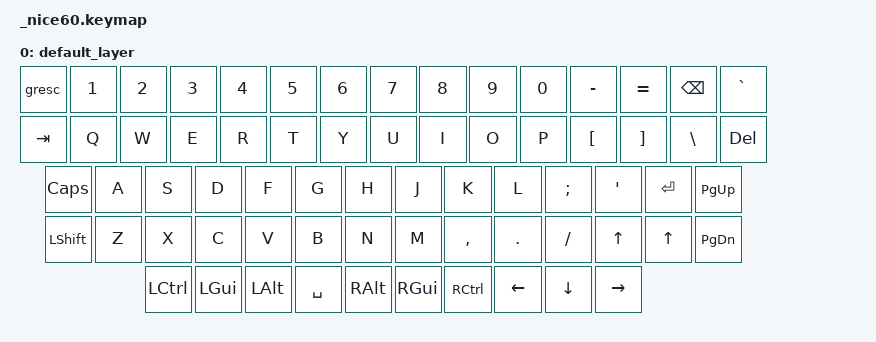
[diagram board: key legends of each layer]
/*
 * Copyright (c) 2021 Nick Winans
 *
 * SPDX-License-Identifier: MIT
 */

#include <behaviors.dtsi>
#include <dt-bindings/zmk/keys.h>
// #include <dt-bindings/zmk/bt.h>

/ {
	keymap {
		compatible = "zmk,keymap";
		
		default_layer {
// ------------------------------------------------------------------------------------------
// | ESC |  1  |  2  |  3  |  4  |  5  |  6  |  7  |  8  |  9  |  0  |  -  |  =  |     BKSP    |   `   |
// | TAB  |  Q  |  W  |  E  |  R  |  T  |  Y  |  U  |  I  |  O  |  P  |  [  |  ]  |    "|"     |  DEL  |
// | CAPS  |  A  |  S  |  D  |  F  |  G  |  H  |  J  |  K  |  L  |  ;  |  '  |      ENTER      | PgUp  |
// |  SHIFT  |  Z  |  X  |  C  |  V  |  B  |  N  |  M  |  ,  |  .  |  /  |     Fn      | UpAr  | PgDwn |
// |  CTL  |  WIN  |  ALT  |            SPACE              | ALT | WIN | MO(1) | LftAr |  DwnAr| RgtAr |
// ------------------------------------------------------------------------------------------
			bindings = <
	&gresc  &kp N1 &kp N2 &kp N3 &kp N4 &kp N5 &kp N6 &kp N7 &kp N8 &kp N9 &kp N0 &kp MINUS &kp EQUAL  &kp BSPC           &kp GRAVE
	&kp TAB  &kp Q  &kp W  &kp E  &kp R  &kp T  &kp Y  &kp U  &kp I  &kp O  &kp P  &kp LBKT  &kp RBKT  &kp BSLH           &kp DEL
	&kp CLCK  &kp A  &kp S  &kp D  &kp F  &kp G  &kp H  &kp J  &kp K  &kp L  &kp SEMI &kp SQT           &kp RET           &kp PG_UP
	&kp LSHFT   &kp Z  &kp X  &kp C  &kp V  &kp B  &kp N  &kp M  &kp COMMA &kp DOT &kp FSLH           &kp UP     &kp UP   &kp PG_DN  
	&kp LCTRL &kp LGUI &kp LALT             &kp SPACE                     &kp RALT  &kp RGUI  &kp RCTRL &kp LEFT &kp DOWN &kp RIGHT 
			>;
		};
	};
};
